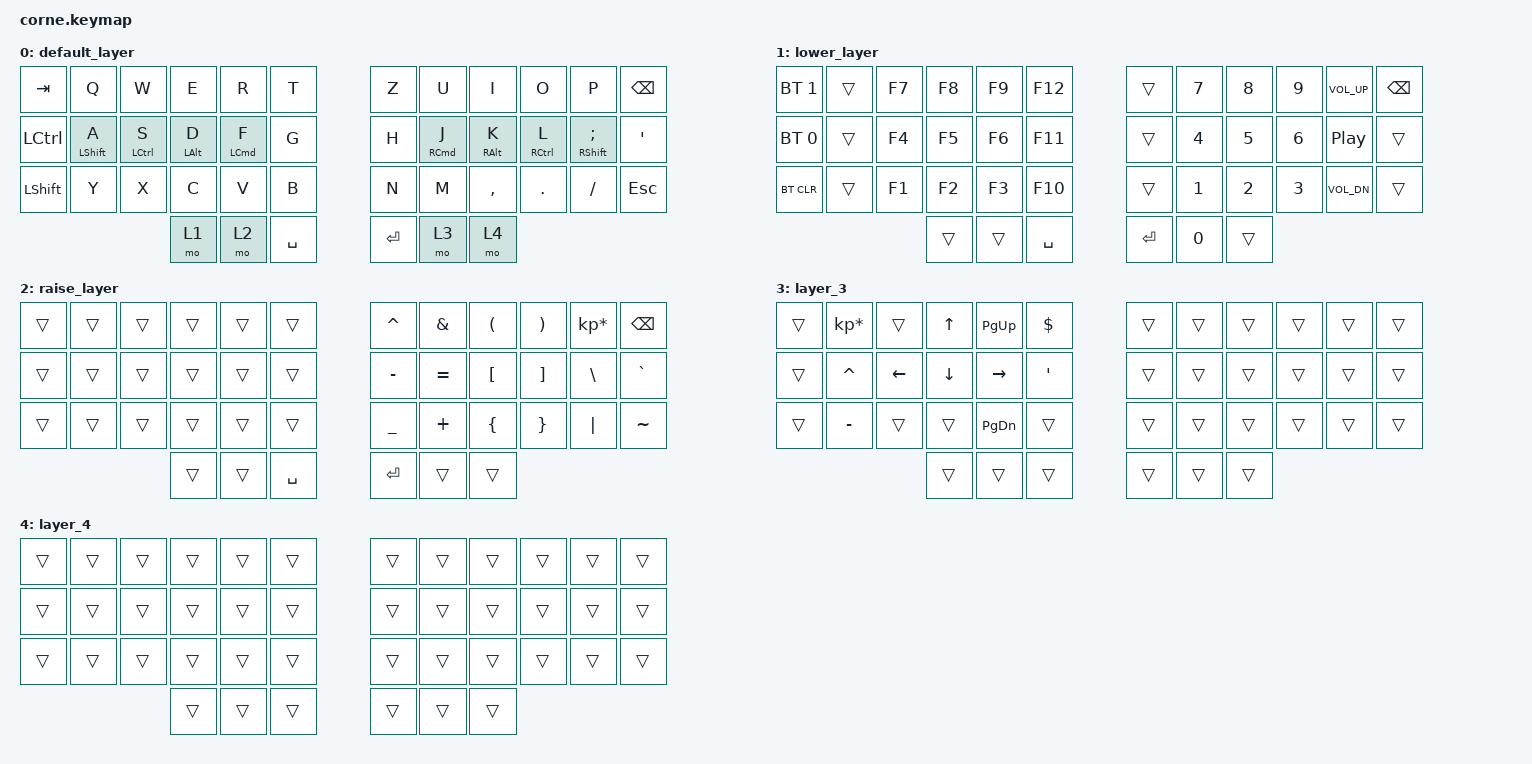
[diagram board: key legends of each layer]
/*
 * Copyright (c) 2020 The ZMK Contributors
 *
 * SPDX-License-Identifier: MIT
 */

#include <behaviors.dtsi>
#include <dt-bindings/zmk/bt.h>
#include <dt-bindings/zmk/keys.h>

/ {
    behaviors {
        hrmr: hrmr {
            compatible = "zmk,behavior-hold-tap";
            label = "HRMR";
            bindings = <&kp>, <&kp>;

            #binding-cells = <2>;
            tapping-term-ms = <280>;
            quick-tap-ms = <175>;
            flavor = "balanced";
            hold-trigger-key-positions = <0 1 2 3 4 5 12 13 14 15 16 17 24 25 26 27 28 29 36 37 38>;
        };

        hrml: hrml {
            compatible = "zmk,behavior-hold-tap";
            label = "HRML";
            bindings = <&kp>, <&kp>;

            #binding-cells = <2>;
            tapping-term-ms = <280>;
            quick-tap-ms = <175>;
            flavor = "balanced";
            hold-trigger-key-positions = <6 7 8 9 10 11 18 19 20 21 22 23 30 31 32 33 34 35 39 40 41>;
        };
    };

    keymap {
        compatible = "zmk,keymap";

        default_layer {
            // -----------------------------------------------------------------------------------------
            // |  TAB |  Q  |  W  |  E  |  R  |  T  |   |  Y  |  U   |  I  |  O  |  P  | BKSP |
            // | CTRL |  A  |  S  |  D  |  F  |  G  |   |  H  |  J   |  K  |  L  |  ;  |  '   |
            // | SHFT |  Z  |  X  |  C  |  V  |  B  |   |  N  |  M   |  ,  |  .  |  /  | ESC  |
            //                    | GUI | LWR | SPC |   | ENT | RSE  | ALT |

            bindings = <
&kp TAB    &kp Q               &kp W                 &kp E             &kp R                 &kp T        &kp Z    &kp U                  &kp I              &kp O                  &kp P                   &kp BSPC
&kp LCTRL  &hrml LEFT_SHIFT A  &hrml LEFT_CONTROL S  &hrml LEFT_ALT D  &hrml LEFT_COMMAND F  &kp G        &kp H    &hrmr RIGHT_COMMAND J  &hrmr RIGHT_ALT K  &hrmr RIGHT_CONTROL L  &hrmr RIGHT_SHIFT SEMI  &kp SQT
&kp LSHFT  &kp Y               &kp X                 &kp C             &kp V                 &kp B        &kp N    &kp M                  &kp COMMA          &kp DOT                &kp FSLH                &kp ESC
                                                     &mo 1             &mo 2                 &kp SPACE    &kp RET  &mo 3                  &mo 4
            >;
        };

        lower_layer {
            // -----------------------------------------------------------------------------------------
            // |  TAB |  1  |  2  |  3  |  4  |  5  |   |  6  |  7  |  8  |  9  |  0  | BKSP |
            // | BTCLR| BT1 | BT2 | BT3 | BT4 | BT5 |   | LFT | DWN |  UP | RGT |     |      |
            // | SHFT |     |     |     |     |     |   |     |     |     |     |     |      |
            //                    | GUI |     | SPC |   | ENT |     | ALT |

            bindings = <
&bt BT_SEL 1  &trans  &kp F7  &kp F8  &kp F9  &kp F12      &trans   &kp N7        &kp N8  &kp N9  &kp C_VOLUME_UP   &kp BSPC
&bt BT_SEL 0  &trans  &kp F4  &kp F5  &kp F6  &kp F11      &trans   &kp N4        &kp N5  &kp N6  &kp C_PLAY_PAUSE  &trans
&bt BT_CLR    &trans  &kp F1  &kp F2  &kp F3  &kp F10      &trans   &kp NUMBER_1  &kp N2  &kp N3  &kp C_VOL_DN      &trans
                              &trans  &trans  &kp SPACE    &kp RET  &kp N0        &trans
            >;
        };

        raise_layer {
            // -----------------------------------------------------------------------------------------
            // |  TAB |  !  |  @  |  #  |  $  |  %  |   |  ^  |  &  |  *  |  (  |  )  | BKSP |
            // | CTRL |     |     |     |     |     |   |  -  |  =  |  [  |  ]  |  \  |  `   |
            // | SHFT |     |     |     |     |     |   |  _  |  +  |  {  |  }  | "|" |  ~   |
            //                    | GUI |     | SPC |   | ENT |     | ALT |

            bindings = <
&trans  &trans  &trans  &trans  &trans  &trans       &kp CARET  &kp AMPS   &kp LPAR  &kp RPAR  &kp KP_MULTIPLY  &kp BSPC
&trans  &trans  &trans  &trans  &trans  &trans       &kp MINUS  &kp EQUAL  &kp LBKT  &kp RBKT  &kp BSLH         &kp GRAVE
&trans  &trans  &trans  &trans  &trans  &trans       &kp UNDER  &kp PLUS   &kp LBRC  &kp RBRC  &kp PIPE         &kp TILDE
                        &trans  &trans  &kp SPACE    &kp RET    &trans     &trans
            >;
        };

        layer_3 {
            bindings = <
&trans  &kp KP_MULTIPLY  &trans    &kp UP_ARROW    &kp PAGE_UP    &kp DOLLAR          &trans  &trans  &trans  &trans  &trans  &trans
&trans  &kp CARET        &kp LEFT  &kp DOWN_ARROW  &kp RIGHT      &kp SINGLE_QUOTE    &trans  &trans  &trans  &trans  &trans  &trans
&trans  &kp MINUS        &trans    &trans          &kp PAGE_DOWN  &trans              &trans  &trans  &trans  &trans  &trans  &trans
                                   &trans          &trans         &trans              &trans  &trans  &trans
            >;
        };

        layer_4 {
            bindings = <
&trans  &trans  &trans  &trans  &trans  &trans    &trans  &trans  &trans  &trans  &trans  &trans
&trans  &trans  &trans  &trans  &trans  &trans    &trans  &trans  &trans  &trans  &trans  &trans
&trans  &trans  &trans  &trans  &trans  &trans    &trans  &trans  &trans  &trans  &trans  &trans
                        &trans  &trans  &trans    &trans  &trans  &trans
            >;
        };
    };
};
